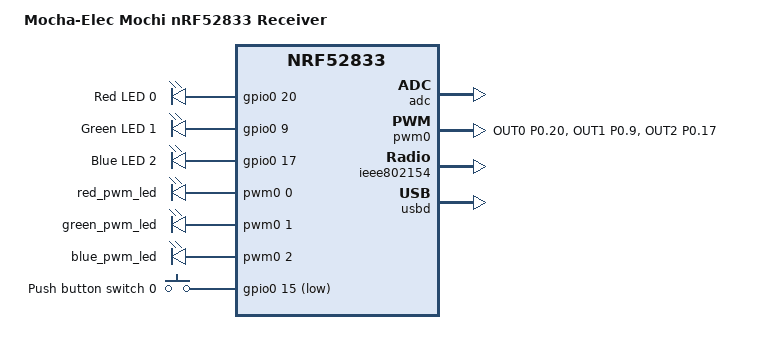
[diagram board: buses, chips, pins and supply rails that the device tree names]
// Copyright (c) 2024 Nordic Semiconductor ASA
// SPDX-License-Identifier: Apache-2.0

/dts-v1/;
#include <nordic/nrf52833_qiaa.dtsi>
#include <zephyr/dt-bindings/input/input-event-codes.h>

&pinctrl {
	pwm0_default: pwm0_default {
		group1 {
			/* channel order must match firmware led_pwm_period: ch0=red, ch1=green, ch2=blue */
			psels = <NRF_PSEL(PWM_OUT0, 0, 20)>,<NRF_PSEL(PWM_OUT1, 0, 9)>,<NRF_PSEL(PWM_OUT2, 0, 17)>;
			nordic,drive-mode = <NRF_DRIVE_D0S1>;
		};
	};

	pwm0_sleep: pwm0_sleep {
		group1 {
			psels = <NRF_PSEL(PWM_OUT0, 0, 20)>,<NRF_PSEL(PWM_OUT1, 0, 9)>,<NRF_PSEL(PWM_OUT2, 0, 17)>;
			low-power-enable;
		};
	};
};

/ {
	model = "Mocha-Elec Mochi nRF52833 Receiver";
	compatible = "mochi_uf2";

	chosen {
		zephyr,console = &cdc_acm_uart;
		zephyr,shell-uart = &cdc_acm_uart;
		zephyr,uart-mcumgr = &cdc_acm_uart;
		zephyr,bt-mon-uart = &cdc_acm_uart;
		zephyr,bt-c2h-uart = &cdc_acm_uart;
		zephyr,sram = &sram0;
		zephyr,flash = &flash0;
		zephyr,ieee802154 = &ieee802154;
	};

	leds {
		compatible = "gpio-leds";
		led0_red: led_0 {
			gpios = <&gpio0 20 GPIO_OPEN_SOURCE>;
			label = "Red LED 0";
		};
		led1_green: led_1 {
			gpios = <&gpio0 9 GPIO_OPEN_SOURCE>;
			label = "Green LED 1";
		};
		led2_blue: led_2 {
			gpios = <&gpio0 17 GPIO_OPEN_SOURCE>;
			label = "Blue LED 2";
		};
	};

	pwmleds {
		compatible = "pwm-leds";
		/* active-high LEDs: use normal polarity so value 0 = off */
		red_pwm_led: pwm_led_0 {
			pwms = <&pwm0 0 PWM_MSEC(1) PWM_POLARITY_NORMAL>;
		};
		green_pwm_led: pwm_led_1 {
			pwms = <&pwm0 1 PWM_MSEC(1) PWM_POLARITY_NORMAL>;
		};
		blue_pwm_led: pwm_led_2 {
			pwms = <&pwm0 2 PWM_MSEC(1) PWM_POLARITY_NORMAL>;
		};
	};

	buttons {
		compatible = "gpio-keys";
		button0: button_0 {
			gpios = <&gpio0 15 (GPIO_PULL_UP | GPIO_ACTIVE_LOW)>;
			label = "Push button switch 0";
			zephyr,code = <INPUT_KEY_0>;
		};
	};

	aliases {
		sw0 = &button0;
		led0 = &led0_red;
		led1 = &led1_green;
		led2 = &led2_blue;
		led0-red   = &led0_red;
		led1-green = &led1_green;
		led2-blue  = &led2_blue;
		pwm-led0 = &red_pwm_led;
		pwm-led1 = &green_pwm_led;
		pwm-led2 = &blue_pwm_led;
		red-pwm-led = &red_pwm_led;
		green-pwm-led = &green_pwm_led;
		blue-pwm-led = &blue_pwm_led;
		watchdog0 = &wdt0;
	};
};

&reg1 {
	regulator-initial-mode = <NRF5X_REG_MODE_DCDC>;
};

&adc {
	status = "okay";
};

&gpio0 {
	status = "okay";
};

&gpio1 {
	status = "okay";
};

&gpiote {
	status = "okay";
};

&uicr {
	/* green LED sits on P0.09 (NFC1) */
	nfct-pins-as-gpios;
};

&pwm0 {
	status = "okay";
	pinctrl-0 = <&pwm0_default>;
	pinctrl-1 = <&pwm0_sleep>;
	pinctrl-names = "default", "sleep";
};

&ieee802154 {
	status = "okay";
};

zephyr_udc0: &usbd {
	compatible = "nordic,nrf-usbd";
	status = "okay";
	cdc_acm_uart: cdc_acm_uart {
		compatible = "zephyr,cdc-acm-uart";
	};
};

&nfct {
	status = "disabled";
};
